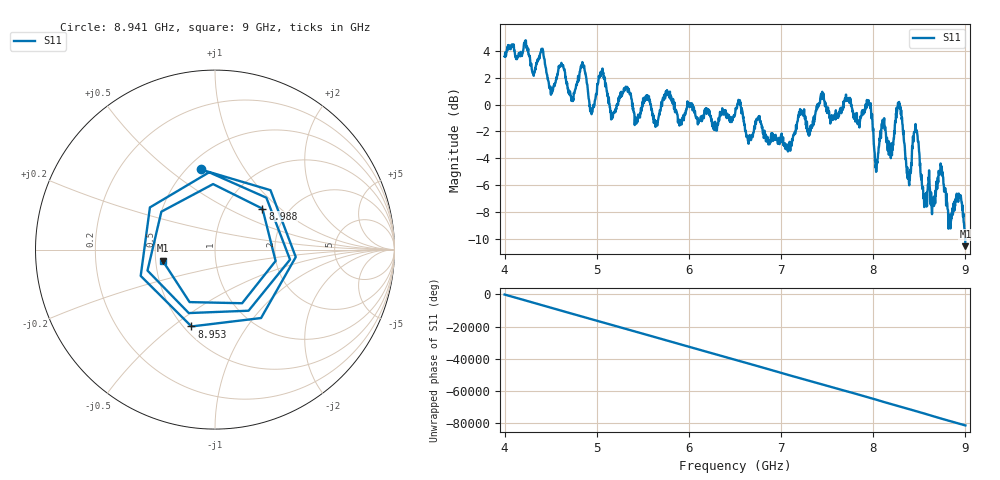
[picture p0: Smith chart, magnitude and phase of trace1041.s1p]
! Created with skrf 1.8.0 (http://scikit-rf.org).
# Hz S RI R 50.0
!freq ReS11 ImS11
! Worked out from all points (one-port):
!   1601 points, 4 GHz to 9 GHz, reference 50 ohm
!   lowest |S11| = -10.5 dB at 9 GHz (marker M1), VSWR 1.85, Z = 27.3 - j3.74 ohm
!   |S11| at or under -10 dB: 8.997941 GHz to end of sweep
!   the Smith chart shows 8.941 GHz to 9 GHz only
!   S11 on the Smith chart (normalised r, x): 8.941 GHz: 0.58, +0.65; 8.953 GHz: 0.55, -0.59; 8.988 GHz: 1.48, +0.77; 9 GHz: 0.55, -0.07
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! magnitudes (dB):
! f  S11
! 4 GHz  3.6
! 4.406 GHz  4.1
! 4.509 GHz  0.8
! 4.625 GHz  2.9
! 4.731 GHz  0.5
! 4.853 GHz  2.9
! 4.947 GHz  -0.3
! 5.047 GHz  2.4
! 5.166 GHz  -0.9
! 5.25 GHz  0.6
! 5.875 GHz  -0.7
! 6.5 GHz  -0.7
! 7.125 GHz  -2.6
! 7.75 GHz  0.4
! 7.953 GHz  0.0
! 8.034 GHz  -5.0
! 8.112 GHz  -1.3
! 8.194 GHz  -2.9
! 8.278 GHz  0.1
! 8.375 GHz  -5.4
! 8.466 GHz  -2.0
! 8.559 GHz  -7.3
! 8.734 GHz  -4.5
! 8.831 GHz  -8.2
! 8.941 GHz  -6.9
! 8.953 GHz  -7.0
! 8.988 GHz  -9.1
! 9 GHz  -10.5
